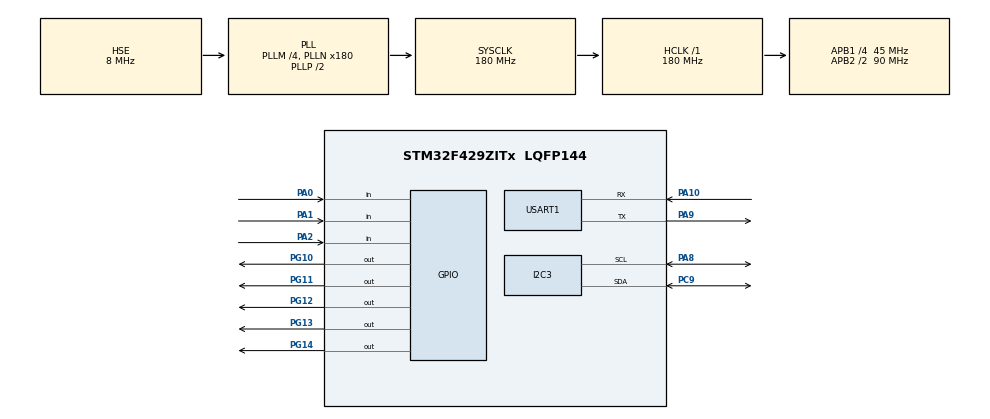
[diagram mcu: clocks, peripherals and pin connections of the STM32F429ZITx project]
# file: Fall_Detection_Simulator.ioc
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FREERTOS.Tasks01=defaultTask,0,128,StartDefaultTask,Default,NULL,Dynamic,NULL,NULL
FREERTOS.Timers01=myTimer01,Callback01,osTimerPeriodic,Default,NULL,Dynamic,NULL
FREERTOS.configUSE_TIMERS=1
Mcu.Family=STM32F4
Mcu.Name=STM32F429ZITx
Mcu.Package=LQFP144
NVIC.PriorityGroup=NVIC_PRIORITYGROUP_4
PA0/WKUP.GPIO_PuPd=GPIO_PULLDOWN
PA0/WKUP.Signal=GPIO_Input
PA1.GPIO_PuPd=GPIO_PULLDOWN
PA1.Signal=GPIO_Input
PA10.Mode=Asynchronous
PA10.Signal=USART1_RX
PA2.GPIO_PuPd=GPIO_PULLDOWN
PA2.Signal=GPIO_Input
PA8.Mode=I2C
PA8.Signal=I2C3_SCL
PA9.Mode=Asynchronous
PA9.Signal=USART1_TX
PC9.Mode=I2C
PC9.Signal=I2C3_SDA
PG10.Signal=GPIO_Output
PG11.Signal=GPIO_Output
PG12.Signal=GPIO_Output
PG13.Signal=GPIO_Output
PG14.Signal=GPIO_Output
PH0/OSC_IN.Mode=HSE-External-Oscillator
PH0/OSC_IN.Signal=RCC_OSC_IN
PH1/OSC_OUT.Mode=HSE-External-Oscillator
PH1/OSC_OUT.Signal=RCC_OSC_OUT
ProjectManager.HeapSize=0x200
ProjectManager.StackSize=0x400
ProjectManager.TargetToolchain=STM32CubeIDE
RCC.48MHZClocksFreq_Value=90000000
RCC.AHBFreq_Value=180000000
RCC.APB1CLKDivider=RCC_HCLK_DIV4
RCC.APB1Freq_Value=45000000
RCC.APB1TimFreq_Value=90000000
RCC.APB2CLKDivider=RCC_HCLK_DIV2
RCC.APB2Freq_Value=90000000
RCC.APB2TimFreq_Value=180000000
RCC.CortexFreq_Value=180000000
RCC.HCLKFreq_Value=180000000
RCC.HSE_VALUE=8000000
RCC.HSI_VALUE=16000000
RCC.LSE_VALUE=32768
RCC.PLLM=4
RCC.PLLN=180
RCC.PLLSourceVirtual=RCC_PLLSOURCE_HSE
RCC.SYSCLKFreq_VALUE=180000000
RCC.SYSCLKSource=RCC_SYSCLKSOURCE_PLLCLK
RCC.VCOOutputFreq_Value=360000000
USART1.VirtualMode=VM_ASYNC
VP_FREERTOS_VS_CMSIS_V1.Mode=CMSIS_V1
board=custom

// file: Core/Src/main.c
/* USER CODE BEGIN Header */
/**
  ******************************************************************************
  * @file           : main.c
  * @brief          : Main program body
  ******************************************************************************
  * @attention
  *
  * Copyright (c) 2026 STMicroelectronics.
  * All rights reserved.
  *
  * This software is licensed under terms that can be found in the LICENSE file
  * in the root directory of this software component.
  * If no LICENSE file comes with this software, it is provided AS-IS.
  *
  ******************************************************************************
  */
/* USER CODE END Header */
#include "main.h"
#include "cmsis_os.h"

/* USER CODE BEGIN Includes */
#include <stdio.h>
#include <string.h>
#include <math.h>

void MPU6050_Init(void);
void MPU6050_Read(void);
#define MPU6050_ADDR (0x68 << 1)
uint8_t data[14];
int16_t Ax, Ay, Az, Gx, Gy, Gz;
 char uart_buf[100];
/* USER CODE END Includes */

/* USER CODE BEGIN PM */
#define ACCEL_SCALE 16384.0  // Correct for MPU6050 +/- 2g range
#define THRESHOLD   2.5      // 2.5g (standard impact threshold)
#define TILT_ANGLE  40 // Original 60
//#define M_PI 3.14159265
/* USER CODE END PM */

I2C_HandleTypeDef hi2c3;

UART_HandleTypeDef huart1;

osThreadId defaultTaskHandle;
osTimerId myTimer01Handle;

void SystemClock_Config(void);
static void MX_GPIO_Init(void);
static void MX_USART1_UART_Init(void);
static void MX_I2C3_Init(void);
void StartDefaultTask(void const * argument);
void Callback01(void const * argument);

/* USER CODE BEGIN 0 */
TaskHandle_t watcher;
TaskHandle_t thinker;
TaskHandle_t shouter;
TimerHandle_t Timer1;
float aTotal;
float pitch;
float roll;

void* Watcher(void *arg);
void* Thinker(void *arg);
void* Shouter(void *arg);

void MPU6050_Init(void)
{
  uint8_t check;
  uint8_t data;

  // Check WHO_AM_I
  HAL_I2C_Mem_Read(&hi2c3, MPU6050_ADDR, 0x75, 1, &check, 1, HAL_MAX_DELAY);

  // Wake up MPU6050
  data = 0;
  HAL_I2C_Mem_Write(&hi2c3, MPU6050_ADDR, 0x6B, 1, &data, 1, HAL_MAX_DELAY);

  // Set accel ±2g
  data = 0x00;
  HAL_I2C_Mem_Write(&hi2c3, MPU6050_ADDR, 0x1C, 1, &data, 1, HAL_MAX_DELAY);

  // Set gyro ±250 dps
  data = 0x00;
  HAL_I2C_Mem_Write(&hi2c3, MPU6050_ADDR, 0x1B, 1, &data, 1, HAL_MAX_DELAY);
}
void MPU6050_Read(void)
{
  HAL_I2C_Mem_Read(&hi2c3, MPU6050_ADDR, 0x3B, 1, data, 14, HAL_MAX_DELAY);

  Ax = (int16_t)(data[0] << 8 | data[1]);
  Ay = (int16_t)(data[2] << 8 | data[3]);
  Az = (int16_t)(data[4] << 8 | data[5]);

  Gx = (int16_t)(data[8] << 8 | data[9]);
  Gy = (int16_t)(data[10] << 8 | data[11]);
  Gz = (int16_t)(data[12] << 8 | data[13]);
}

int _write(int file, char *str, int size) {
	HAL_UART_Transmit(&huart1, (uint8_t*) str, size, HAL_MAX_DELAY);
	return size;
}

/* USER CODE END 0 */

int main(void)
{

  /* MCU Configuration--------------------------------------------------------*/

  /* Reset of all peripherals, Initializes the Flash interface and the Systick. */
  HAL_Init();

  /* Configure the system clock */
  SystemClock_Config();

  /* Initialize all configured peripherals */
//  MX_GPIO_Init();
  MX_USART1_UART_Init();
  MX_I2C3_Init();
  /* USER CODE BEGIN 2 */
  MX_GPIO_Init();

//  Timer1 = xTimerCreate("Timer1", pdMS_TO_TICKS(20), pdTRUE, 0,Watcher);
//  xTimerStart(Timer1, 0);

  xTaskCreate(Watcher, "watcher", 256, NULL, 1, &watcher);
  xTaskCreate(Thinker, "thinker", 256, NULL, 1, &thinker);
  xTaskCreate(Shouter, "shouter", 256, NULL, 1, &shouter);

  vTaskStartScheduler();

  /* USER CODE END 2 */

  /* Create the timer(s) */
  /* definition and creation of myTimer01 */
//  osTimerDef(myTimer01, Callback01);
//  myTimer01Handle = osTimerCreate(osTimer(myTimer01), osTimerPeriodic, NULL);

  /* Create the thread(s) */
  /* definition and creation of defaultTask */
//  osThreadDef(defaultTask, StartDefaultTask, osPriorityNormal, 0, 128);
//  defaultTaskHandle = osThreadCreate(osThread(defaultTask), NULL);

  /* Start scheduler */
  //osKernelStart();

  /* We should never get here as control is now taken by the scheduler */

  /* Infinite loop */
  /* USER CODE BEGIN WHILE */

  MPU6050_Init();
  HAL_Delay(100);
  uint8_t who;
  HAL_I2C_Mem_Read(&hi2c3, MPU6050_ADDR, 0x75, 1, &who, 1, HAL_MAX_DELAY);

  sprintf(uart_buf, "WHO_AM_I = 0x%X\r\n", who);
  HAL_UART_Transmit(&huart1,(uint8_t*)uart_buf,strlen(uart_buf),HAL_MAX_DELAY);
//  for(uint8_t i=0;i<128;i++)
//  {
//    if(HAL_I2C_IsDeviceReady(&hi2c3, i<<1, 1, 10)==HAL_OK)
//    {
//      sprintf(uart_buf,"Found device at 0x%X\r\n", i);
//      HAL_UART_Transmit(&huart1,(uint8_t*)uart_buf,strlen(uart_buf),HAL_MAX_DELAY);
//    }
//    else{
//    	sprintf(uart_buf,"Found not device at 0x%X\r\n", i);
//    	HAL_UART_Transmit(&huart1,(uint8_t*)uart_buf,strlen(uart_buf),HAL_MAX_DELAY);
//    }
//  }
//  uint8_t flag1 = 1, flag2 = 0, flag3 = 0;
//  uint8_t once1 = 1, once2 = 1, once3 = 1;
//  uint32_t delay = 0;
  while (1)
  {
    /* USER CODE END WHILE */

    /* USER CODE BEGIN 3 */
//	  if(HAL_GPIO_ReadPin(GPIOA, GPIO_PIN_0) == 1 && once1){
//		  once1 = 0;
//		  flag1 = 1;
//		  HAL_GPIO_WritePin(GPIOG, GPIO_PIN_10, 1);
//		  HAL_GPIO_WritePin(GPIOG, GPIO_PIN_11, 1);
//		  HAL_GPIO_WritePin(GPIOG, GPIO_PIN_12, 1);
//	  }
//	  else
//		  once1 = 1;
//	  if(HAL_GPIO_ReadPin(GPIOA, GPIO_PIN_1) == 1 && once2){
//		  once2 = 0;
//		  flag2 = 1;
//		  HAL_GPIO_WritePin(GPIOG, GPIO_PIN_10, 1);
//		  HAL_GPIO_WritePin(GPIOG, GPIO_PIN_11, 0);
//		  HAL_GPIO_WritePin(GPIOG, GPIO_PIN_12, 1);
//	  }
//	  else
//		  once1 = 1;
//	  if(HAL_GPIO_ReadPin(GPIOA, GPIO_PIN_2) == 1 && once3){
//		  once3 = 0;
//		  flag3 = 1;
//		  HAL_GPIO_WritePin(GPIOG, GPIO_PIN_10, 0);
//		  HAL_GPIO_WritePin(GPIOG, GPIO_PIN_11, 1);
//		  HAL_GPIO_WritePin(GPIOG, GPIO_PIN_12, 0);
//	  }
//	  else
//		  once3 = 1;
//	  if (delay++ == 1000000) {
//		  delay = 0;
//			if (flag1) {
//				HAL_GPIO_TogglePin(GPIOG, GPIO_PIN_10);
//				HAL_GPIO_TogglePin(GPIOG, GPIO_PIN_11);
//				HAL_GPIO_TogglePin(GPIOG, GPIO_PIN_12);
//			}
//			else if(flag2){
//				HAL_GPIO_TogglePin(GPIOG, GPIO_PIN_10);
//				HAL_GPIO_TogglePin(GPIOG, GPIO_PIN_11);
//				HAL_GPIO_TogglePin(GPIOG, GPIO_PIN_12);
//			}
//			else if(flag3){
//				HAL_GPIO_TogglePin(GPIOG, GPIO_PIN_10);
//				HAL_GPIO_TogglePin(GPIOG, GPIO_PIN_11);
//				HAL_GPIO_TogglePin(GPIOG, GPIO_PIN_12);
//			}
//			MPU6050_Read();
//			sprintf(uart_buf, "Ax=%d Ay=%d Az=%d | Gx=%d Gy=%d Gz=%d\r\n", Ax, Ay, Az, Gx, Gy, Gz);
//			HAL_UART_Transmit(&huart1, (uint8_t*)uart_buf, strlen(uart_buf), HAL_MAX_DELAY);
//			HAL_GPIO_TogglePin(GPIOG, GPIO_PIN_13);
//	  }
  }
  /* USER CODE END 3 */
}

void SystemClock_Config(void)
{
  RCC_OscInitTypeDef RCC_OscInitStruct = {0};
  RCC_ClkInitTypeDef RCC_ClkInitStruct = {0};

  /** Configure the main internal regulator output voltage
  */
  __HAL_RCC_PWR_CLK_ENABLE();
  __HAL_PWR_VOLTAGESCALING_CONFIG(PWR_REGULATOR_VOLTAGE_SCALE1);

  /** Initializes the RCC Oscillators according to the specified parameters
  * in the RCC_OscInitTypeDef structure.
  */
  RCC_OscInitStruct.OscillatorType = RCC_OSCILLATORTYPE_HSE;
  RCC_OscInitStruct.HSEState = RCC_HSE_ON;
  RCC_OscInitStruct.PLL.PLLState = RCC_PLL_ON;
  RCC_OscInitStruct.PLL.PLLSource = RCC_PLLSOURCE_HSE;
  RCC_OscInitStruct.PLL.PLLM = 4;
  RCC_OscInitStruct.PLL.PLLN = 180;
  RCC_OscInitStruct.PLL.PLLP = RCC_PLLP_DIV2;
  RCC_OscInitStruct.PLL.PLLQ = 4;
  if (HAL_RCC_OscConfig(&RCC_OscInitStruct) != HAL_OK)
  {
    Error_Handler();
  }

  /** Activate the Over-Drive mode
  */
  if (HAL_PWREx_EnableOverDrive() != HAL_OK)
  {
    Error_Handler();
  }

  /** Initializes the CPU, AHB and APB buses clocks
  */
  RCC_ClkInitStruct.ClockType = RCC_CLOCKTYPE_HCLK|RCC_CLOCKTYPE_SYSCLK
                              |RCC_CLOCKTYPE_PCLK1|RCC_CLOCKTYPE_PCLK2;
  RCC_ClkInitStruct.SYSCLKSource = RCC_SYSCLKSOURCE_PLLCLK;
  RCC_ClkInitStruct.AHBCLKDivider = RCC_SYSCLK_DIV1;
  RCC_ClkInitStruct.APB1CLKDivider = RCC_HCLK_DIV4;
  RCC_ClkInitStruct.APB2CLKDivider = RCC_HCLK_DIV2;

  if (HAL_RCC_ClockConfig(&RCC_ClkInitStruct, FLASH_LATENCY_5) != HAL_OK)
  {
    Error_Handler();
  }
}

static void MX_I2C3_Init(void)
{

  hi2c3.Instance = I2C3;
  hi2c3.Init.ClockSpeed = 100000;
  hi2c3.Init.DutyCycle = I2C_DUTYCYCLE_2;
  hi2c3.Init.OwnAddress1 = 0;
  hi2c3.Init.AddressingMode = I2C_ADDRESSINGMODE_7BIT;
  hi2c3.Init.DualAddressMode = I2C_DUALADDRESS_DISABLE;
  hi2c3.Init.OwnAddress2 = 0;
  hi2c3.Init.GeneralCallMode = I2C_GENERALCALL_DISABLE;
  hi2c3.Init.NoStretchMode = I2C_NOSTRETCH_DISABLE;
  if (HAL_I2C_Init(&hi2c3) != HAL_OK)
  {
    Error_Handler();
  }

  /** Configure Analogue filter
  */
  if (HAL_I2CEx_ConfigAnalogFilter(&hi2c3, I2C_ANALOGFILTER_ENABLE) != HAL_OK)
  {
    Error_Handler();
  }

  /** Configure Digital filter
  */
  if (HAL_I2CEx_ConfigDigitalFilter(&hi2c3, 0) != HAL_OK)
  {
    Error_Handler();
  }

}

static void MX_USART1_UART_Init(void)
{

  huart1.Instance = USART1;
  huart1.Init.BaudRate = 115200;
  huart1.Init.WordLength = UART_WORDLENGTH_8B;
  huart1.Init.StopBits = UART_STOPBITS_1;
  huart1.Init.Parity = UART_PARITY_NONE;
  huart1.Init.Mode = UART_MODE_TX_RX;
  huart1.Init.HwFlowCtl = UART_HWCONTROL_NONE;
  huart1.Init.OverSampling = UART_OVERSAMPLING_16;
  if (HAL_UART_Init(&huart1) != HAL_OK)
  {
    Error_Handler();
  }

}

static void MX_GPIO_Init(void)
{
  GPIO_InitTypeDef GPIO_InitStruct = {0};

  /* GPIO Ports Clock Enable */
  __HAL_RCC_GPIOH_CLK_ENABLE();
  __HAL_RCC_GPIOA_CLK_ENABLE();
  __HAL_RCC_GPIOC_CLK_ENABLE();
  __HAL_RCC_GPIOG_CLK_ENABLE();

  /*Configure GPIO pin Output Level */
  HAL_GPIO_WritePin(GPIOG, GPIO_PIN_10|GPIO_PIN_11|GPIO_PIN_12|GPIO_PIN_13
                          |GPIO_PIN_14, GPIO_PIN_RESET);

  /*Configure GPIO pins : PA0 PA1 PA2 */
  GPIO_InitStruct.Pin = GPIO_PIN_0|GPIO_PIN_1|GPIO_PIN_2;
  GPIO_InitStruct.Mode = GPIO_MODE_INPUT;
  GPIO_InitStruct.Pull = GPIO_PULLDOWN;
  HAL_GPIO_Init(GPIOA, &GPIO_InitStruct);

  /*Configure GPIO pins : PG10 PG11 PG12 PG13
                           PG14 */
  GPIO_InitStruct.Pin = GPIO_PIN_10|GPIO_PIN_11|GPIO_PIN_12|GPIO_PIN_13
                          |GPIO_PIN_14;
  GPIO_InitStruct.Mode = GPIO_MODE_OUTPUT_PP;
  GPIO_InitStruct.Pull = GPIO_NOPULL;
  GPIO_InitStruct.Speed = GPIO_SPEED_FREQ_LOW;
  HAL_GPIO_Init(GPIOG, &GPIO_InitStruct);

}

/* USER CODE BEGIN 4 */
void* Watcher(void *arg){
	for(;;){
		MPU6050_Read();
		//printf("Ax=%d:Ay=%d:Az=%d | Gx=%d:Gy:%d:Gz=%d\r\n",Ax,Ay,Az,Gx,Gy,Gz);
		vTaskDelay(pdMS_TO_TICKS(20));
	}
}

void* Thinker(void *arg) {
	for (;;) {
		// 1. Calculate Resultant Acceleration Magnitude
		float aTotal = sqrtf((float) Ax * Ax + (float) Ay * Ay + (float) Az * Az) / ACCEL_SCALE;

		// 2. Only check for Tilt IF an Impact (Threshold) is detected first
		if (aTotal > THRESHOLD) {

			// Add a very tiny delay to let the sensor stabilize after impact
			vTaskDelay(pdMS_TO_TICKS(10));

			float pitch = atan2f(Ax, sqrtf(Ay * Ay + Az * Az)) * 180.0f / M_PI;
			float roll = atan2f(Ay, sqrtf(Ax * Ax + Az * Az)) * 180.0f / M_PI;

			// 3. Confirm the device is actually tilted AFTER the impact
			if (fabs(pitch) > TILT_ANGLE || fabs(roll) > TILT_ANGLE) {
				//uint8_t alert = 1;
				xTaskNotifyGive(shouter);
			}
		}
		vTaskDelay(pdMS_TO_TICKS(50));
	}
}

void* Shouter(void *arg){
	for(;;){
		ulTaskNotifyTake(pdTRUE, portMAX_DELAY);
		printf("FALL DETECTED\r\n");
		HAL_GPIO_WritePin(GPIOG, GPIO_PIN_14, 1);
		vTaskDelay(pdMS_TO_TICKS(3000));
		HAL_GPIO_WritePin(GPIOG, GPIO_PIN_14, 0);
	}
}
/* USER CODE END 4 */

void StartDefaultTask(void const * argument)
{
  for(;;)
  {
    osDelay(1);
  }
}

/* Callback01 function */
void Callback01(void const * argument)
{
}

void Error_Handler(void)
{
  __disable_irq();
  while (1)
  {
  }
}
